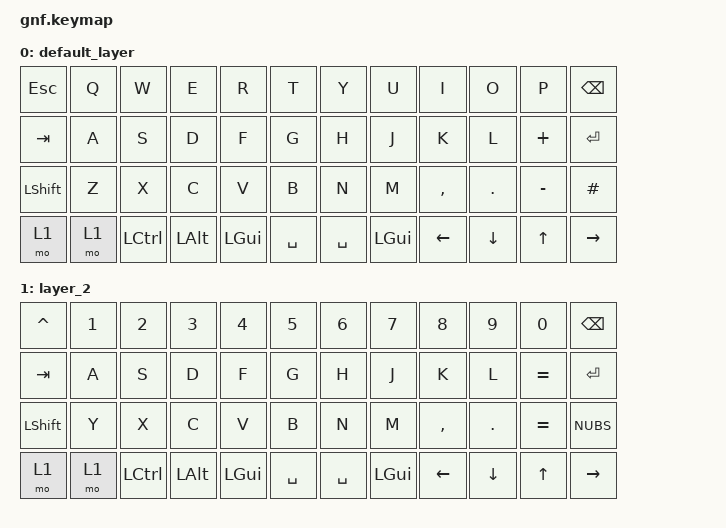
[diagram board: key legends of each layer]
#include <behaviors.dtsi>
#include <dt-bindings/zmk/keys.h>
#include <dt-bindings/zmk/bt.h>

/ {
    keymap {
        compatible = "zmk,keymap";

        default_layer {
            bindings = <
&kp ESC     &kp Q      &kp W     &kp E     &kp R  &kp T          &kp Y     &kp U     &kp I      &kp O           &kp P         &kp BSPC
&kp TAB     &kp A      &kp S     &kp D     &kp F  &kp G          &kp H     &kp J     &kp K      &kp L           &kp PLUS      &kp ENTER
&kp LSHIFT  &kp Z      &kp X     &kp C     &kp V  &kp B          &kp N     &kp M     &kp COMMA  &kp DOT         &kp MINUS     &kp HASH
&mo 1       &mo 1      &kp LCTRL &kp LALT  &kp LGUI  &kp SPACE   &kp SPACE &kp LGUI  &kp LEFT   &kp DOWN_ARROW  &kp UP_ARROW  &kp RIGHT
            >;
        };

        layer_2 {
            bindings = <
&kp CARET   &kp 1      &kp 2     &kp 3     &kp 4  &kp 5          &kp 6     &kp 7     &kp 8      &kp 9           &kp 0         &kp BSPC
&kp TAB     &kp A      &kp S     &kp D     &kp F  &kp G          &kp H     &kp J     &kp K      &kp L           &kp EQUAL      &kp ENTER
&kp LSHIFT  &kp Y      &kp X     &kp C     &kp V  &kp B          &kp N     &kp M     &kp COMMA  &kp DOT         &kp EQUAL     &kp NUBS
&mo 1       &mo 1      &kp LCTRL &kp LALT  &kp LGUI  &kp SPACE   &kp SPACE &kp LGUI  &kp LEFT   &kp DOWN_ARROW  &kp UP_ARROW  &kp RIGHT
            >;
        };
    };
};

